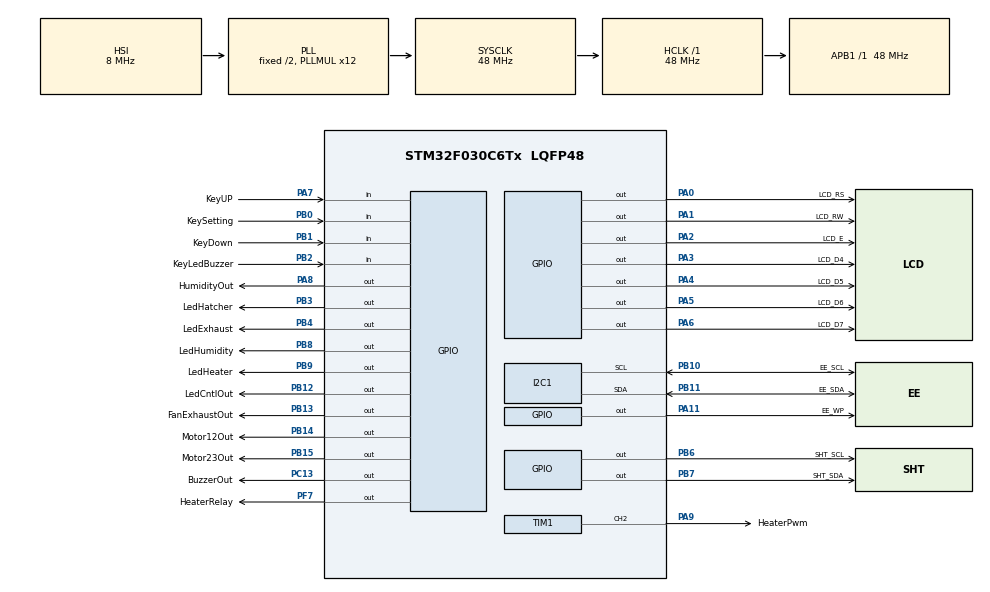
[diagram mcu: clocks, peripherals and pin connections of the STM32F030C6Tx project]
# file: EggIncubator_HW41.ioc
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I2C1.Speed=50
I2C1.Timing=0x00101D7C
IWDG.Prescaler=IWDG_PRESCALER_256
Mcu.Family=STM32F0
Mcu.Name=STM32F030C6Tx
Mcu.Package=LQFP48
NVIC.TIM16_IRQn=true\:0\:0\:false\:false\:true\:true\:true\:true
NVIC.TIM17_IRQn=true\:1\:0\:true\:false\:true\:true\:true\:true
PA0.GPIO_Label=LCD_RS
PA0.Signal=GPIO_Output
PA1.GPIO_Label=LCD_RW
PA1.Signal=GPIO_Output
PA11.GPIO_Label=EE_WP
PA11.Signal=GPIO_Output
PA13.Mode=Serial_Wire
PA13.Signal=SYS_SWDIO
PA14.Mode=Serial_Wire
PA14.Signal=SYS_SWCLK
PA2.GPIO_Label=LCD_E
PA2.Signal=GPIO_Output
PA3.GPIO_Label=LCD_D4
PA3.Signal=GPIO_Output
PA4.GPIO_Label=LCD_D5
PA4.Signal=GPIO_Output
PA5.GPIO_Label=LCD_D6
PA5.Signal=GPIO_Output
PA6.GPIO_Label=LCD_D7
PA6.Signal=GPIO_Output
PA7.GPIO_Label=KeyUP
PA7.GPIO_PuPd=GPIO_PULLUP
PA7.Signal=GPIO_Input
PA8.GPIO_Label=HumidityOut
PA8.Signal=GPIO_Output
PA9.GPIO_Label=HeaterPwm
PA9.Signal=S_TIM1_CH2
PB0.GPIO_Label=KeySetting
PB0.GPIO_PuPd=GPIO_PULLUP
PB0.Signal=GPIO_Input
PB1.GPIO_Label=KeyDown
PB1.GPIO_PuPd=GPIO_PULLUP
PB1.Signal=GPIO_Input
PB10.GPIO_Label=EE_SCL
PB10.Mode=I2C
PB10.Signal=I2C1_SCL
PB11.GPIO_Label=EE_SDA
PB11.Mode=I2C
PB11.Signal=I2C1_SDA
PB12.GPIO_Label=LedCntlOut
PB12.Signal=GPIO_Output
PB13.GPIO_Label=FanExhaustOut
PB13.Signal=GPIO_Output
PB14.GPIO_Label=Motor12Out
PB14.Signal=GPIO_Output
PB15.GPIO_Label=Motor23Out
PB15.Signal=GPIO_Output
PB2.GPIO_Label=KeyLedBuzzer
PB2.GPIO_PuPd=GPIO_PULLUP
PB2.Signal=GPIO_Input
PB3.GPIO_Label=LedHatcher
PB3.Signal=GPIO_Output
PB4.GPIO_Label=LedExhaust
PB4.Signal=GPIO_Output
PB6.GPIO_Label=SHT_SCL
PB6.Signal=GPIO_Output
PB7.GPIO_Label=SHT_SDA
PB7.Signal=GPIO_Output
PB8.GPIO_Label=LedHumidity
PB8.Signal=GPIO_Output
PB9.GPIO_Label=LedHeater
PB9.Signal=GPIO_Output
PC13.GPIO_Label=BuzzerOut
PC13.Signal=GPIO_Output
PF7.GPIO_Label=HeaterRelay
PF7.Signal=GPIO_Output
ProjectManager.HeapSize=0x200
ProjectManager.StackSize=0x400
ProjectManager.TargetToolchain=MDK-ARM V5.27
RCC.AHBFreq_Value=48000000
RCC.APB1Freq_Value=48000000
RCC.APB1TimFreq_Value=48000000
RCC.HCLKFreq_Value=48000000
RCC.PLLMUL=RCC_PLL_MUL12
RCC.SYSCLKFreq_VALUE=48000000
RCC.SYSCLKSource=RCC_SYSCLKSOURCE_PLLCLK
SH.S_TIM1_CH2.0=TIM1_CH2,PWM Generation2 CH2
TIM1.Channel-PWM\ Generation2\ CH2=TIM_CHANNEL_2
TIM1.Period=1000-1
TIM1.Prescaler=960-1
TIM1.Pulse-PWM\ Generation2\ CH2=500-1
TIM16.Period=1000-1
TIM16.Prescaler=480-1
TIM17.Period=2000-1
TIM17.Prescaler=24000-1
VP_IWDG_VS_IWDG.Mode=IWDG_Activate
VP_TIM16_VS_ClockSourceINT.Mode=Enable_Timer
VP_TIM17_VS_ClockSourceINT.Mode=Enable_Timer
VP_TIM1_VS_ClockSourceINT.Mode=Internal
board=custom

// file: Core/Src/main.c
/* USER CODE BEGIN Header */
/**
  ******************************************************************************
  * @file           : main.c
  * @brief          : Main program body
  ******************************************************************************
  * @attention
  *
  * <h2><center>&copy; Copyright (c) 2022 STMicroelectronics.
  * All rights reserved.</center></h2>
  *
  * This software component is licensed by ST under BSD 3-Clause license,
  * the "License"; You may not use this file except in compliance with the
  * License. You may obtain a copy of the License at:
  *                        opensource.org/licenses/BSD-3-Clause
  *
  ******************************************************************************
  */
/* USER CODE END Header */
#include "main.h"
#include "i2c.h"
#include "iwdg.h"
#include "tim.h"
#include "gpio.h"

/* USER CODE BEGIN Includes */
#include <stdlib.h>
#include <stdio.h>
#include <string.h>
#include "lcd_ch.h"
#include "string_num.h"
#include "sht2x_BB.h"
#include "Buzzer.h"
#include "Keys.h"
#include "user_eeprom.h"
#include "eeprom.h"
#include "user_time.h"
#include "bird.h"
#include "Motor.h"
#include "user_sht.h"
#include "heater_fan.h"
/* USER CODE END Includes */

/* USER CODE BEGIN PTD */
typedef struct {
    const char *date;
    const char *time;
    const char *version;
} FirmwareInfo;

const FirmwareInfo firmware = {
    .date = __DATE__,
    .time = __TIME__,
    .version = "4.1.2"
};
/* USER CODE END PTD */

/* USER CODE BEGIN PD */
#define DELAY_GOMAINMENU	20//s
//#define DELAY_SWITCHMAINDISPLAY		3//s
uint8_t DELAY_SWITCHMAINDISPLAY[]={3,9,6};  //Bird,TempHum,TimeDay,,
/* USER CODE END PD */

void SystemClock_Config(void);
/* USER CODE BEGIN PFP */
volatile  uint8_t tik_1s=0;
volatile uint8_t tik_3s=0;
volatile uint8_t cnt_tik3s=0;
volatile uint8_t TimerGoMainMenu=0;
void HAL_TIM_PeriodElapsedCallback(TIM_HandleTypeDef *htim)
{
	//call every 10ms
	if(htim->Instance==TIM16)
	{
		//Buzzer evaluate//
		if(Buzzer.active)
		{
			Buzzer.counterTime++;
			if(Buzzer.stateoffon) //buzzer ON
			{
				if(Buzzer.counterTime>Buzzer.rhythmProg[Buzzer.indexrhythm].onduration)
				{
					Buzzer.stateoffon=0;
					Buzzer.counterTime=0;
				}
				else
				{
					if(!Buzzer.mute)
						BUZZER_ON();
				}
			}
			else
			{
				if(Buzzer.counterTime>Buzzer.rhythmProg[Buzzer.indexrhythm].offduration)
				{
					Buzzer.indexrhythm++;
					if(Buzzer.indexrhythm>=Buzzer.numofrhythms)
					{
						Buzzer.indexrhythm=0;
						if(!Buzzer.repeatactive)
						{
							Buzzer.active=0;
						}
					}
					Buzzer.stateoffon=1;
					Buzzer.counterTime=0;
				}
				else
				{
					BUZZER_OFF();
				}
			}
		}
		//Read Keys//
		for(uint8_t i=0;i<KEYSNUM;i++)
		{
			Keys[i].RawState=(KeyState_t)HAL_GPIO_ReadPin(Keys[i].port,Keys[i].pin);
			if(Keys[i].Prev_RawState==Release && Keys[i].RawState==Press) //press
			{
				Keys[i].counter=0;
				Keys[i].LongPress=0;
				Keys[i].ShortPress=0;
				Keys[i].LongLongPress=0;
			}
			else if(Keys[i].Prev_RawState==Press && Keys[i].RawState==Press) //continue press
			{
				Keys[i].counter++;
				if(Keys[i].counter>LONGPRESS_MIN)
				{
					Keys[i].LongPress=1;
					Keys[i].counter=0;
				}
				else if(Keys[i].LongPress && Keys[i].counter>LONGLONGPRESS_MIN)
				{
					Keys[i].LongLongPress=1;
					Keys[i].counter=0;
				}
			}
			else if(Keys[i].Prev_RawState==Press && Keys[i].RawState==Release) //release
			{
				if(Keys[i].counter>SHORTPRESS_MIN && Keys[i].counter<SHORTPRESS_MAX)
				{
					if(!Keys[i].LongPress && !Keys[i].LongLongPress)
						Keys[i].ShortPress=1;
				}
				Keys[i].counter=0;
			}
			Keys[i].Prev_RawState=Keys[i].RawState;
		}
	}
	////////////////////////////////////////////////////////////////////
	//call every 1s
	if(htim->Instance==TIM17)
	{
		tik_1s=1;
		cnt_tik3s++;
		if(cnt_tik3s==3)
		{
			cnt_tik3s=0;
			tik_3s=1;
		}
		if(TimerGoMainMenu>0)
			TimerGoMainMenu--;
	}
}
////////////////////////////////////
uint8_t FindProgNum(Bird_t bird,Time_t time)
{
	uint8_t prognum=0;
	uint16_t sumdays=0;
	if(bird.Type==Manual)
	{
		if(bird.pProgs[0].durationDays)
			prognum=0;
		else
			prognum=1;
	}
	else
	{
		while(bird.TotalDurationDays>sumdays)
		{
			sumdays+=bird.pProgs[prognum].durationDays;
			if(sumdays>time.day) break;
			prognum++;
		}
		if(prognum>=bird.NumofProg)
			prognum=bird.NumofProg-1;
	}
	return prognum;
}
uint8_t IsHatcher(Bird_t bird,Time_t time)
{
	if(time.day>=(bird.TotalDurationDays-bird.HatchTotalDays) && bird.pProgs[bird.NumofProg-1].durationDays)
		return 1;
	else
		return	0;
}
char negstr[16];
char *negativStr(int16_t x)
{
	if(x>0)
		sprintf(negstr,"+%2d.%1d",x/10,x%10);
	else if(x==0)
		sprintf(negstr," %2d.%1d",x/10,x%10);
	else
		sprintf(negstr,"-%2d.%1d",(-x)/10,(-x)%10);
	return negstr;
}
/* USER CODE END PFP */

/* USER CODE BEGIN 0 */
//	Time_t st={.day=300,.hr=52,.min=32,.sec=0};
//	Time_t rt;
/* USER CODE END 0 */

int main(void)
{

  /* MCU Configuration--------------------------------------------------------*/

  /* Reset of all peripherals, Initializes the Flash interface and the Systick. */
  HAL_Init();

  /* Configure the system clock */
  SystemClock_Config();

  /* Initialize all configured peripherals */
  MX_GPIO_Init();
  MX_I2C1_Init();
  MX_TIM1_Init();
  MX_TIM16_Init();
  MX_TIM17_Init();
  MX_IWDG_Init();
  /* USER CODE BEGIN 2 */
	HAL_TIM_Base_Start_IT(&htim16); //timer 10ms
	HAL_TIM_Base_Start_IT(&htim17);	//timer 1s

  HAL_GPIO_WritePin(LedHeater_GPIO_Port, LedHeater_Pin, GPIO_PIN_SET);
  HAL_GPIO_WritePin(LedHumidity_GPIO_Port, LedHumidity_Pin, GPIO_PIN_SET);
  HAL_GPIO_WritePin(LedExhaust_GPIO_Port, LedExhaust_Pin, GPIO_PIN_SET);
  HAL_GPIO_WritePin(LedHatcher_GPIO_Port, LedHatcher_Pin, GPIO_PIN_SET);
	HAL_GPIO_WritePin(LedCntlOut_GPIO_Port,LedCntlOut_Pin,GPIO_PIN_SET);
	HAL_GPIO_WritePin(Motor12Out_GPIO_Port,Motor12Out_Pin,GPIO_PIN_SET);
	HAL_GPIO_WritePin(Motor23Out_GPIO_Port,Motor23Out_Pin,GPIO_PIN_SET);
	HAL_GPIO_WritePin(HeaterRelay_GPIO_Port,HeaterRelay_Pin,GPIO_PIN_SET);
BirdLoadDefault();
	LCD_init();
	BuzzerInit();
	KeysInit();
	BuzzerSetRhythm(Rhythm1,0);
//	HAL_Delay(10000);
//	BuzzerSetRhythm(SilentRhythm,1);
//	HAL_Delay(5000);
//	BuzzerSetRhythm(Rhythm3,1);
//	HAL_Delay(10000);
//	BuzzerSetRhythm(SilentRhythm,1);

	char lcd_str[2][16];
	uint8_t tmp_uint8;
	uint16_t tmp_uint16;
	Time_t curTime={.sec=0,.min=0,.hr=0,.day=0};
	LCD_putstralign("Ghoghnoos Plus+",0,0,AlignCenter);
	LCD_putstralign((char *)firmware.version,0,1,AlignCenter);
	uint8_t firsttime=0;
	EEReadByte(&firsttime,1,EE_ADD_FIRST_TIME);
	HAL_Delay(200);
	EEReadByte(&firsttime,1,EE_ADD_FIRST_TIME);
	if((Keys[KEYUP].RawState==Press && Keys[KEYUP].RawState==Press)|| (firsttime!=0xA1))
	{
		HAL_Delay(800);
		if((Keys[KEYUP].RawState==Press && Keys[KEYUP].RawState==Press)|| (firsttime!=0xA1))
		{
			LCD_putstralign("Save Default...",0,1,AlignCenter);
			firsttime=0xA1;
			EEWriteByte(&firsttime,1,EE_ADD_FIRST_TIME);
			TimeSave(curTime,EE_ADD_CURTIME);
			tmp_uint8=(uint8_t)DEFAULT_CURBIRDTYPE;
			EEWriteByte(&tmp_uint8,1,EE_ADD_CURBIRDTYPE);
			BirdSaveManual(defaultBirds[Manual]);
			TimeSave(defaultMotor.OnTime,EE_ADD_MOTOR_ON);
			TimeSave(defaultMotor.OffTime,EE_ADD_MOTOR_OFF);
			FanSave(defaultFan);
			HeaterSave(defaultHeater);
			ShtSave(defaultSht);
		}
	}
	KeysInit();
	//////////////////////Initialize after boot///////////////////////////////////////////
	LCD_clearrow(1);
	LCD_putstralign("Loading...",0,1,AlignCenter);
	TimeInit(&curTime);
	Bird_t curBird;
	BirdInit(&curBird);
	Motor_t motor;
	MotorInit(&motor);
	Sht_t sht20;
	ShtInit(&sht20);
	Fan_t fan;
	FanInit(&fan);
	Heater_t heater;
	HeaterInit(&heater);
	uint8_t curProg=FindProgNum(curBird,curTime);
	HAL_Delay(3000);
	LCD_clear_home();
	///////////////////////////////////////////////////////////////
	HAL_IWDG_Init(&hiwdg);
  /* USER CODE END 2 */

  /* Infinite loop */
  /* USER CODE BEGIN WHILE */
	enum{MainMenu=0,
			SettingBirdMenu,
			SettingBirdDayMenu,
			SettingManualTemperatureMenu,SettingManualhumidityMenu,SettingManualDaysMenu,SettingManualHatchersMenu,
			PasswordMenu,
			AdvancedMenu,
			AdvanceMotorOnTimeMenu,AdvanceMotorOffTimeMenu,
			AdvanceAdjustFanTempMenu,AdvanceAdjustFanHumMenu,
			AdvanceAdjustHeaterTempMenu,AdvanceAdjustHeaterPwmMenu,
			AdvanceCalibShtTempMenu,AdvanceCalibShtHumMenu,
			} curMenu=MainMenu;
	uint8_t counter_switchmaindispaly=0,tik_switchmaindispaly=1,MainPageNumber=0;
	uint8_t tmpType,tmpProg;
	Time_t tmpTime;
	int16_t tmpTemp,tmpHumid,tmpDay;
	int16_t tmpInt16;
	char tmpIsHatch;
	uint8_t indexpos;
	char tmppass[5];
	uint8_t sensor_error=0;
	BuzzerSetRhythm(SilentRhythm,1);

  while (1)
  {
		HAL_IWDG_Refresh(&hiwdg);
    /* USER CODE END WHILE */

    /* USER CODE BEGIN 3 */
		switch(curMenu)
		{
			//Main Menu//
			case MainMenu:
				if(tik_1s)
				{
					tik_1s=0;

					//increment time and save//
					IncTimesec(&curTime);
					if(curTime.sec==0)
							TimeSave(curTime,EE_ADD_CURTIME);
					//find current program for current bird  and turn the hatcher LED on, if necessary//
					curProg=FindProgNum(curBird,curTime);
					//Check Motor
					//Setter Hatcher LED
					IncTimesec(&motor.curTime);
					if(IsHatcher(curBird,curTime))
					{
						HAL_GPIO_WritePin(LedHatcher_GPIO_Port,LedHatcher_Pin,GPIO_PIN_RESET);
						if(motor.mode==MotorAuto)
							MotorSetState(&motor,MotorOff);
					}
					else
					{
						HAL_GPIO_WritePin(LedHatcher_GPIO_Port,LedHatcher_Pin,GPIO_PIN_SET);
						MotorCheck(&motor);
					}
					//Read sensor//

					if(tik_3s)
					{
						tik_3s=0;
						ShtReadSensor(&sht20);
					}
					if(!sht20.error)
					{
						FanCheckTempHum(fan,curBird.pProgs[curProg].temperature,sht20.temperature,curBird.pProgs[curProg].humidity,sht20.humidity);
						HeaterCheck(heater,curBird.pProgs[curProg].temperature,sht20.temperature);
						if(sht20.humidity<curBird.pProgs[curProg].humidity)
						{
							HAL_GPIO_WritePin(HumidityOut_GPIO_Port,HumidityOut_Pin,GPIO_PIN_RESET);
							HAL_GPIO_WritePin(LedHumidity_GPIO_Port,LedHumidity_Pin,GPIO_PIN_RESET);
						}
						else
						{
							HAL_GPIO_WritePin(HumidityOut_GPIO_Port,HumidityOut_Pin,GPIO_PIN_SET);
							HAL_GPIO_WritePin(LedHumidity_GPIO_Port,LedHumidity_Pin,GPIO_PIN_SET);
						}
						///check for alarms///
						if(sht20.temperature<(curBird.pProgs[curProg].temperature-DEFAULT_BUZZER_TEMP))
							BuzzerSetRhythm(Rhythm1,1);
						else if(sht20.temperature>(curBird.pProgs[curProg].temperature+DEFAULT_BUZZER_TEMP))
							BuzzerSetRhythm(Rhythm3,1);
						else if(sht20.humidity<(curBird.pProgs[curProg].humidity-DEFAULT_BUZZER_HUM))
							BuzzerSetRhythm(Rhythm1,1);
						else if(sht20.humidity>(curBird.pProgs[curProg].humidity+DEFAULT_BUZZER_HUM))
							BuzzerSetRhythm(Rhythm3,1);
						else
							BuzzerSetRhythm(SilentRhythm,1);
						//////////////////////////
						if(sensor_error)
						{
							sensor_error=0;
							tik_switchmaindispaly=1;
							MainPageNumber=0;
						}
					}
					else
					{
						HeaterSetPercent(0);
						FanSetState(&fan,FanOff);
						LCD_clear_home();
						LCD_putstralign("SENSOR ERROR",0,0,AlignCenter);
						sensor_error=1;
						MainPageNumber=3;
						BuzzerSetRhythm(Rhythm2,1);
					}
					//main menu tik//
					counter_switchmaindispaly++;
					if(counter_switchmaindispaly>DELAY_SWITCHMAINDISPLAY[MainPageNumber])
					{
						counter_switchmaindispaly=0;
						tik_switchmaindispaly=1;
					}
					//MainPageNumber=2;
					switch(MainPageNumber)
					{
						case 0:
							LCD_putstralign("Bird",0,0,AlignCenter);
							LCD_putpersian((uint8_t)curBird.Type,0,1,AlignCenter);
							if(tik_switchmaindispaly)
							{
								tik_switchmaindispaly=0;
								MainPageNumber=1;
								LCD_clear_home();

							}
							break;
						case 1:
							if(sht20.error)
								{
								}
								else
								{
									sprintf(lcd_str[0],"=%3d.%1d %cC",sht20.temperature/10,sht20.temperature%10,DEGREE_CH_CODE);
									sprintf(lcd_str[1],"=%3d.%1d %%",sht20.humidity/10,sht20.humidity%10);
									//sprintf(lcd_str[1],"=%3d.%1d %cC",curBird.pProgs[curProg].temperature/10,curBird.pProgs[curProg].temperature%10,DEGREE_CH_CODE);
									LCD_putpersian(DAMA_STR,3,0,AlignNone);
									LCD_putstralign(lcd_str[0],7,0,AlignNone);
									LCD_putpersian(ROTOBAT_STR,1,1,AlignNone);
									LCD_putstralign(lcd_str[1],7,1,AlignNone);
									if(tik_switchmaindispaly)
									{
										tik_switchmaindispaly=0;
										MainPageNumber=2;
										LCD_clear_home();

									}
								}
							break;
						case 2:
							LCD_putpersian(ZAMAN_STR,2,0,AlignNone);
							sprintf(lcd_str[0],"= %02d:%02d  ",curTime.hr,curTime.min);
						//sprintf(lcd_str[0],"=%02d:%02d:%02d",curTime.hr,curTime.min,curTime.sec);
							LCD_putstralign(lcd_str[0],7,0,AlignNone);

							LCD_putpersian(ROOZ_STR,2,1,AlignNone);
							sprintf(lcd_str[0],"= %3d",curTime.day);
							LCD_putstralign(lcd_str[0],7,1,AlignNone);
							if(tik_switchmaindispaly)
							{
								tik_switchmaindispaly=0;
								MainPageNumber=0;
								LCD_clear_home();

							}
							break;
						case 3:

							break;
					}
				}
				//Check Keys
				//Up key:Motor rotation
				if(Keys[KEYUP].RawState==Press)
				{
					if(motor.mode==MotorAuto)
					{
						motor.mode=MotorManual;
						MotorSetState(&motor,MotorOn);
						MainPageNumber=3;
						LCD_clear_home();
						LCD_putpersian(CHARKHSH_STR,0,0,AlignCenter);
					}
					if(sht20.error)
						sprintf(lcd_str[1],"T=----  H=----");
					else
					sprintf(lcd_str[1],"T=%2d.%1d  H=%2d.%1d",
																										sht20.temperature/10,sht20.temperature%10,
																										sht20.humidity/10,sht20.humidity%10
									);
					LCD_putstrpos(lcd_str[1],1,1);
				}
				else if(Keys[KEYUP].RawState==Release)
				{
					if(motor.mode==MotorManual)
					{
						motor.mode=MotorAuto;
						MotorSetState(&motor,MotorOff);
						motor.curTime.hr=0;motor.curTime.min=0;motor.curTime.sec=0;
						MainPageNumber=0;
						tik_switchmaindispaly=1;
						LCD_clear_home();
					}
				}
				//LEDBUZZER key:Lamp On Off
				if(Keys[KEYLEDBUZZER].ShortPress)
				{
					Keys[KEYLEDBUZZER].ShortPress=0;
					HAL_GPIO_TogglePin(LedCntlOut_GPIO_Port,LedCntlOut_Pin);
				}
				//LEDBUZZER key long:Buzzer On Off
				if(Keys[KEYLEDBUZZER].LongPress)
				{
					Keys[KEYLEDBUZZER].LongPress=0;
					LCD_clearrow(0);
					if(Buzzer.mute)
					{
						Buzzer.mute=0;
						LCD_putstralign("BUZZER ON",0,0,AlignCenter);
					}
					else
					{
						Buzzer.mute=1;
						LCD_putstralign("BUZZER OFF",0,0,AlignCenter);
					}
					HAL_Delay(1000);
					LCD_clear_home();
				}
				// both Key Setting and Down:Password menu
				if(Keys[KEYDOWN].LongPress && Keys[KEYUP].LongPress)
				{
					Keys[KEYUP].LongPress=Keys[KEYUP].LongLongPress=0;
					Keys[KEYDOWN].LongPress=Keys[KEYDOWN].LongLongPress=0;
					TimerGoMainMenu=DELAY_GOMAINMENU;

					HeaterSetPercent(0);
					FanSetState(&fan,FanOff);
					motor.mode=MotorManual;	MotorSetState(&motor,MotorOff);
					HAL_GPIO_WritePin(HumidityOut_GPIO_Port,HumidityOut_Pin,GPIO_PIN_SET);
					HAL_GPIO_WritePin(LedHumidity_GPIO_Port,LedHumidity_Pin,GPIO_PIN_SET);
					HAL_GPIO_WritePin(LedHatcher_GPIO_Port,LedHatcher_Pin,GPIO_PIN_SET);

					LCD_clear_home();
					LCD_putstralign("PASSWORD",0,0,AlignCenter);
					sprintf(tmppass,"0000");
					LCD_putstralign(tmppass,0,1,AlignCenter);
					indexpos=0;
					LCD_cursor_on();
					LCD_gotoxy(indexpos+6,1);
					Keys[KEYSETTING].LongPress=Keys[KEYSETTING].LongLongPress=0;
					Keys[KEYDOWN].LongPress=Keys[KEYDOWN].LongLongPress=0;
					curMenu=PasswordMenu;
				}
				//
				if(Keys[KEYSETTING].ShortPress )
				{
					Keys[KEYSETTING].ShortPress=0;
					TimerGoMainMenu=DELAY_GOMAINMENU;

					LCD_clear_home();
					LCD_putstrpos("Bird Select",1,0);
					LCD_putstrpos("=>",1,1);
					tmpType=(uint8_t)curBird.Type;
					LCD_putpersian((uint8_t)tmpType,0,1,AlignCenter);

					HeaterSetPercent(0);
					FanSetState(&fan,FanOff);
					motor.mode=MotorManual;	MotorSetState(&motor,MotorOff);
					HAL_GPIO_WritePin(HumidityOut_GPIO_Port,HumidityOut_Pin,GPIO_PIN_SET);
					HAL_GPIO_WritePin(LedHumidity_GPIO_Port,LedHumidity_Pin,GPIO_PIN_SET);
					HAL_GPIO_WritePin(LedHatcher_GPIO_Port,LedHatcher_Pin,GPIO_PIN_SET);

					curMenu=SettingBirdMenu;
				}
				break;
			//Password Menu//
			case PasswordMenu:
				if(Keys[KEYUP].ShortPress||Keys[KEYUP].LongLongPress)
				{
					Keys[KEYUP].ShortPress=0;Keys[KEYUP].LongLongPress=0;
					TimerGoMainMenu=DELAY_GOMAINMENU;
					tmppass[indexpos]++;
					if(tmppass[indexpos]>'9') tmppass[indexpos]='0';
					LCD_putstralign(tmppass,0,1,AlignCenter);
					LCD_gotoxy(indexpos+6,1);

				}
				if(Keys[KEYDOWN].ShortPress||Keys[KEYDOWN].LongLongPress)
				{
					Keys[KEYDOWN].ShortPress=0;Keys[KEYDOWN].LongLongPress=0;
					TimerGoMainMenu=DELAY_GOMAINMENU;
					if(tmppass[indexpos]=='0') tmppass[indexpos]='9'+1;
					tmppass[indexpos]--;
					LCD_putstralign(tmppass,0,1,AlignCenter);
					LCD_gotoxy(indexpos+6,1);
				}
				if(Keys[KEYSETTING].ShortPress)
				{
					Keys[KEYSETTING].ShortPress=0;
					TimerGoMainMenu=DELAY_GOMAINMENU;
					indexpos++;
//					LCD_putstralign(tmppass,0,1,AlignCenter);

					if(indexpos>3)
					{
						LCD_cursor_off();
						if(!strcmp(tmppass,DEFAULT_PASSWORD))
						{
							LCD_clear_home();
							LCD_putstralign("Motor On",0,0,AlignCenter);
							sprintf(lcd_str[1],"%02d:%02d:%02d",motor.OnTime.hr,motor.OnTime.min,motor.OnTime.sec);
							LCD_putstralign(lcd_str[1],0,1,AlignCenter);
							indexpos=0;
							curMenu=AdvancedMenu;
						}
						else
						{
							LCD_putstralign("Wrong",0,1,AlignCenter);
							HAL_Delay(2000);
							TimerGoMainMenu=0;
						}
					}
					else
					{
							LCD_gotoxy(indexpos+6,1);
					}
				}
				if(TimerGoMainMenu==0)
				{
					LCD_clear_home();
					tik_1s=1;
					tik_switchmaindispaly=1;
					MainPageNumber=0;
					motor.mode=MotorAuto;
					curMenu=MainMenu;
				}
				break;
				//Advance Menu:selectItem
			case AdvancedMenu:
				if(Keys[KEYUP].ShortPress || Keys[KEYDOWN].ShortPress)
				{
					TimerGoMainMenu=DELAY_GOMAINMENU;
					if(Keys[KEYUP].ShortPress)
					{
						Keys[KEYUP].ShortPress=0;
						indexpos++;
						if(indexpos>8)
							indexpos=0;
					}
					else
					{
						Keys[KEYDOWN].ShortPress=0;
						if(indexpos==0)
							indexpos=9;
						indexpos--;
					}
					LCD_clear_home();
					switch(indexpos)
					{
						case 0:
							LCD_putstralign("Motor On",0,0,AlignCenter);
							sprintf(lcd_str[1],"%02d:%02d:%02d",motor.OnTime.hr,motor.OnTime.min,motor.OnTime.sec);
						break;
						case 1:
							LCD_putstralign("Motor Off",0,0,AlignCenter);
							sprintf(lcd_str[1],"%02d:%02d:%02d",motor.OffTime.hr,motor.OffTime.min,motor.OffTime.sec);
						break;
						case 2:
							LCD_putstralign("Adj Fan Temp",0,0,AlignCenter);
							sprintf(lcd_str[1],"%s %cC",negativStr(fan.adjustFanTemp),DEGREE_CH_CODE);//							sprintf(lcd_str[1],"%+3d.%1d %cC",fan.adjustFanTemp/10,abs(fan.adjustFanTemp%10),DEGREE_CH_CODE);
						break;
						case 3:
							LCD_putstralign("Adj Fan HUM",0,0,AlignCenter);
							sprintf(lcd_str[1],"%s %%",negativStr(fan.adjustFanHum));//sprintf(lcd_str[1],"%+3d.%1d %%",fan.adjustFanHum/10,abs(fan.adjustFanHum%10));
						break;
						case 4:
							LCD_putstralign("Adj Heat Temp",0,0,AlignCenter);
							sprintf(lcd_str[1],"%s %cC",negativStr( heater.adjustHeaterTemp),DEGREE_CH_CODE);//sprintf(lcd_str[1],"%+3d.%1d %cC",heater.adjustHeaterTemp/10,abs(heater.adjustHeaterTemp%10),DEGREE_CH_CODE);
						break;
						case 5:
							LCD_putstralign("Adj Heat PWM",0,0,AlignCenter);
							sprintf(lcd_str[1],"%3d.0 %%",heater.adjustHeaterPwmp/10);
						break;
						case 6:
							LCD_putstralign("Calib SHT Temp",0,0,AlignCenter);
							sprintf(lcd_str[1],"%s %cC",negativStr(sht20.calibTemp),DEGREE_CH_CODE);//sprintf(lcd_str[1],"%+3d.%1d %cC",sht20.calibTemp/10,abs(sht20.calibTemp),DEGREE_CH_CODE);
						break;
						case 7:
							LCD_putstralign("Calib SHT HUM",0,0,AlignCenter);
							sprintf(lcd_str[1],"%s %%",negativStr(sht20.calibHum));//sprintf(lcd_str[1],"%+3d.%1d %%",sht20.calibHum/10,abs(sht20.calibHum%10));
						break;
						case 8:
							LCD_putstralign("EXIT",0,0,AlignCenter);
							LCD_clearrow(1);
							sprintf(lcd_str[1]," ");//sprintf(lcd_str[1],"%+3d.%1d %%",sht20.calibHum/10,abs(sht20.calibHum%10));

						break;
					}
					LCD_putstralign(lcd_str[1],0,1,AlignCenter);
				}
				if(Keys[KEYSETTING].ShortPress)
				{
					Keys[KEYSETTING].ShortPress=0;
					switch(indexpos)
					{
						case 0://Motor OnTime
							tmpTime=motor.OnTime;
							indexpos=0;
							LCD_cursor_on();
							LCD_gotoxy(5+indexpos*3,1);
							curMenu=AdvanceMotorOnTimeMenu;
						break;
						case 1://Motor Off Time
							tmpTime=motor.OffTime;
							indexpos=0;
							LCD_cursor_on();
							LCD_gotoxy(5+indexpos*3,1);
							curMenu=AdvanceMotorOffTimeMenu;
							break;
						case 2://Adjust Fan Temp
							tmpInt16=fan.adjustFanTemp;
							LCD_cursor_on();
							LCD_gotoxy(8,1);
							curMenu=AdvanceAdjustFanTempMenu;
							break;
						case 3://Adjust Fan Hum
							tmpInt16=fan.adjustFanHum;
							LCD_cursor_on();
							LCD_gotoxy(8,1);
							curMenu=AdvanceAdjustFanHumMenu;
							break;
						case 4://Adjust Heater Temp
							tmpInt16=heater.adjustHeaterTemp;
							LCD_cursor_on();
							LCD_gotoxy(8,1);
							curMenu=AdvanceAdjustHeaterTempMenu;
						break;
						case 5://Adjust Heater PWM
							tmpInt16=heater.adjustHeaterPwmp;
							LCD_cursor_on();
							LCD_gotoxy(8,1);
							curMenu=AdvanceAdjustHeaterPwmMenu;
						break;
						case 6://Calib sht Temp
							tmpInt16=sht20.calibTemp;
							LCD_cursor_on();
							LCD_gotoxy(8,1);
							curMenu=AdvanceCalibShtTempMenu;
						break;
						case 7://Calib sht hum
							tmpInt16=sht20.calibHum;
							LCD_cursor_on();
							LCD_gotoxy(8,1);
							curMenu=AdvanceCalibShtHumMenu;
						break;
						case 8://exit
							TimerGoMainMenu=0;
						break;
					}
				}
				if(TimerGoMainMenu==0)
				{
					LCD_clear_home();
					tik_1s=1;
					tik_switchmaindispaly=1;
					MainPageNumber=0;
					motor.mode=MotorAuto;
					curMenu=MainMenu;
				}
				break;
				//Advance Menu:Adjust Temp && Humid for Fan on/off
				case AdvanceAdjustFanTempMenu:
				case AdvanceAdjustFanHumMenu:
				case AdvanceAdjustHeaterTempMenu:
				case AdvanceAdjustHeaterPwmMenu:
				case AdvanceCalibShtTempMenu:
				case AdvanceCalibShtHumMenu:
				if(Keys[KEYUP].ShortPress||Keys[KEYUP].LongLongPress)
				{
					if(Keys[KEYUP].ShortPress)
					{
						Keys[KEYUP].ShortPress=0;
						if(curMenu==AdvanceAdjustHeaterPwmMenu)
							tmpInt16+=10;
						else
							tmpInt16++;
					}
					else
					{
						Keys[KEYUP].LongLongPress=0;
						tmpInt16+=10;
					}
					TimerGoMainMenu=DELAY_GOMAINMENU;

					switch(curMenu)
					{
						case AdvanceAdjustFanTempMenu:
						case AdvanceAdjustHeaterTempMenu:
						case AdvanceCalibShtTempMenu:
							if(tmpInt16>TEMP_ADJUST_UPPER_LIMIT) tmpInt16=TEMP_ADJUST_UPPER_LIMIT;
							sprintf(lcd_str[1],"%s %cC",negativStr(tmpInt16),DEGREE_CH_CODE);
						break;
						case AdvanceCalibShtHumMenu:
						case AdvanceAdjustFanHumMenu:
							if(tmpInt16>HUM_ADJUST_UPPER_LIMIT) tmpInt16=HUM_ADJUST_UPPER_LIMIT;
							sprintf(lcd_str[1],"%s %%",negativStr(tmpInt16));
						break;
						case AdvanceAdjustHeaterPwmMenu:
							if(tmpInt16>1000) tmpInt16=1000;
							sprintf(lcd_str[1],"%3d.0 %%",tmpInt16/10);
						break;
					}
					LCD_putstralign(lcd_str[1],0,1,AlignCenter);
					LCD_gotoxy(8,1);
				}

				if(Keys[KEYDOWN].ShortPress||Keys[KEYDOWN].LongLongPress)
				{
					if(Keys[KEYDOWN].ShortPress)
					{
						Keys[KEYDOWN].ShortPress=0;
						if(curMenu==AdvanceAdjustHeaterPwmMenu)
							tmpInt16-=10;
						else
							tmpInt16--;
					}
					else
					{
						Keys[KEYDOWN].LongLongPress=0;
						tmpInt16-=10;
					}
					TimerGoMainMenu=DELAY_GOMAINMENU;
					switch(curMenu)
					{
						case AdvanceAdjustFanTempMenu:
						case AdvanceAdjustHeaterTempMenu:
						case AdvanceCalibShtTempMenu:
							if(tmpInt16<TEMP_ADJUST_LOWER_LIMIT) tmpInt16=TEMP_ADJUST_LOWER_LIMIT;
							sprintf(lcd_str[1],"%s %cC",negativStr(tmpInt16),DEGREE_CH_CODE);
						break;
						case AdvanceCalibShtHumMenu:
						case AdvanceAdjustFanHumMenu:
							if(tmpInt16<HUM_ADJUST_LOWER_LIMIT) tmpInt16=HUM_ADJUST_LOWER_LIMIT;
							sprintf(lcd_str[1],"%s %%",negativStr(tmpInt16));
						break;
						case AdvanceAdjustHeaterPwmMenu:
							if(tmpInt16<0) tmpInt16=0;
							sprintf(lcd_str[1],"%3d.0 %%",tmpInt16/10);
						break;
					}
					LCD_putstralign(lcd_str[1],0,1,AlignCenter);
					LCD_gotoxy(8,1);
				}
				if(Keys[KEYSETTING].ShortPress)
				{
					Keys[KEYSETTING].ShortPress=0;
					TimerGoMainMenu=0;
					LCD_cursor_off();
					switch(curMenu)
					{
						case AdvanceAdjustFanTempMenu:
								fan.adjustFanTemp=tmpInt16;
								FanSave(fan);
							break;
						case AdvanceAdjustFanHumMenu:
								fan.adjustFanHum=tmpInt16;
								FanSave(fan);
							break;
						case AdvanceAdjustHeaterTempMenu:
								heater.adjustHeaterTemp=tmpInt16;
								HeaterSave(heater);
						break;
						case AdvanceAdjustHeaterPwmMenu:
								heater.adjustHeaterPwmp =tmpInt16;
								HeaterSave(heater);
							break;
						case AdvanceCalibShtTempMenu:
							sht20.calibTemp=tmpInt16;
							ShtSave(sht20);
							break;
						case AdvanceCalibShtHumMenu:
							sht20.calibHum=tmpInt16;
							ShtSave(sht20);
						break;
					}
				}

				if(TimerGoMainMenu==0)
				{
						LCD_cursor_off();

					switch(curMenu)
					{
						case AdvanceAdjustFanTempMenu:
							sprintf(lcd_str[1],"%s %cC",negativStr(fan.adjustFanTemp),DEGREE_CH_CODE);//							sprintf(lcd_str[1],"%+3d.%1d %cC",fan.adjustFanTemp/10,abs(fan.adjustFanTemp%10),DEGREE_CH_CODE);
						indexpos=2;
						break;
						case AdvanceAdjustFanHumMenu:
							sprintf(lcd_str[1],"%s %%",negativStr(fan.adjustFanHum));//sprintf(lcd_str[1],"%+3d.%1d %%",fan.adjustFanHum/10,abs(fan.adjustFanHum%10));

						indexpos=3;
						break;
						case AdvanceAdjustHeaterTempMenu:
							sprintf(lcd_str[1],"%s %cC",negativStr( heater.adjustHeaterTemp),DEGREE_CH_CODE);//sprintf(lcd_str[1],"%+3d.%1d %cC",heater.adjustHeaterTemp/10,abs(heater.adjustHeaterTemp%10),DEGREE_CH_CODE);

						indexpos=4;
						break;
						case AdvanceAdjustHeaterPwmMenu:
							sprintf(lcd_str[1],"%3d.0 %%",heater.adjustHeaterPwmp/10);
						indexpos=5;
						break;
						case AdvanceCalibShtTempMenu:
							sprintf(lcd_str[1],"%s %cC",negativStr(sht20.calibTemp),DEGREE_CH_CODE);//sprintf(lcd_str[1],"%+3d.%1d %cC",sht20.calibTemp/10,abs(sht20.calibTemp),DEGREE_CH_CODE);
						indexpos=6;
						break;
						case AdvanceCalibShtHumMenu:
							sprintf(lcd_str[1],"%s %%",negativStr(sht20.calibHum));//sprintf(lcd_str[1],"%+3d.%1d %%",sht20.calibHum/10,abs(sht20.calibHum%10));
						indexpos=7;
						break;
					}
					LCD_putstralign(lcd_str[1],0,1,AlignCenter);

					TimerGoMainMenu=DELAY_GOMAINMENU;
					curMenu=AdvancedMenu;
				}
					break;
				//Advance Menu:Set Motor On Off Time
			case AdvanceMotorOnTimeMenu:
			case AdvanceMotorOffTimeMenu:
				if(Keys[KEYUP].ShortPress||Keys[KEYUP].LongLongPress)
				{
					Keys[KEYUP].ShortPress=0;Keys[KEYUP].LongLongPress=0;
					TimerGoMainMenu=DELAY_GOMAINMENU;
					switch(indexpos)
					{
						case 0:
							tmpTime.hr++;
							if(tmpTime.hr>99) tmpTime.hr=99;
							break;
						case 1:
							tmpTime.min++;
							if(tmpTime.min>59) tmpTime.min=59;
						break;
						case 2:
							tmpTime.sec++;
							if(tmpTime.sec>59) tmpTime.sec=59;
						break;
					}
					sprintf(lcd_str[1],"%02d:%02d:%02d",tmpTime.hr,tmpTime.min,tmpTime.sec);
					LCD_putstralign(lcd_str[1],0,1,AlignCenter);
					LCD_gotoxy(5+indexpos*3,1);

				}
				if(Keys[KEYDOWN].ShortPress||Keys[KEYDOWN].LongLongPress)
				{
					Keys[KEYDOWN].ShortPress=0;Keys[KEYDOWN].LongLongPress=0;
					TimerGoMainMenu=DELAY_GOMAINMENU;
					switch(indexpos)
					{
						case 0:
							if(tmpTime.hr==0) tmpTime.hr=1;
							tmpTime.hr--;
							break;
						case 1:
							if(tmpTime.min==0) tmpTime.min=1;
							tmpTime.min--;
						break;
						case 2:
							if(tmpTime.sec==0) tmpTime.sec=1;
							tmpTime.sec--;
						break;
					}
					sprintf(lcd_str[1],"%02d:%02d:%02d",tmpTime.hr,tmpTime.min,tmpTime.sec);
					LCD_putstralign(lcd_str[1],0,1,AlignCenter);
					LCD_gotoxy(5+indexpos*3,1);
				}
				if(Keys[KEYSETTING].ShortPress)
				{
					Keys[KEYSETTING].ShortPress=0;
					TimerGoMainMenu=DELAY_GOMAINMENU;
					indexpos++;
					if(indexpos>2)
					{
						TimerGoMainMenu=0;
						if(curMenu==AdvanceMotorOnTimeMenu)
						{
							memcpy(&motor.OnTime,&tmpTime,sizeof(Time_t));
							TimeSave(motor.OnTime,EE_ADD_MOTOR_ON);
						}
						else
						{
							memcpy(&motor.OffTime,&tmpTime,sizeof(Time_t));
							TimeSave(motor.OffTime,EE_ADD_MOTOR_OFF);
						}
						LCD_cursor_off();
					}
					else
					{
						LCD_gotoxy(5+indexpos*3,1);
					}
				}

				if(TimerGoMainMenu==0)
				{
						LCD_cursor_off();
					if(curMenu==AdvanceMotorOnTimeMenu)
					{
						sprintf(lcd_str[1],"%02d:%02d:%02d",motor.OnTime.hr,motor.OnTime.min,motor.OnTime.sec);
						indexpos=0;
					}
					else
					{
						sprintf(lcd_str[1],"%02d:%02d:%02d",motor.OffTime.hr,motor.OffTime.min,motor.OffTime.sec);
						indexpos=1;
					}
					LCD_putstralign(lcd_str[1],0,1,AlignCenter);

					TimerGoMainMenu=DELAY_GOMAINMENU;
					curMenu=AdvancedMenu;
				}
				break;
			//Setting Bird Menu//
			case SettingBirdMenu:
				if(Keys[KEYUP].ShortPress || Keys[KEYUP].LongLongPress)
				{
					Keys[KEYUP].ShortPress=0; Keys[KEYUP].LongLongPress=0;
					TimerGoMainMenu=DELAY_GOMAINMENU;
					tmpType++;
					if(tmpType>=NumOfBirds)
						tmpType=0;
//					LCD_putstrpos("        ",4,1);
					LCD_clear_size(4,1,8);
					LCD_putpersian((uint8_t)tmpType,0,1,AlignCenter);
				}
				if(Keys[KEYDOWN].ShortPress  || Keys[KEYDOWN].LongLongPress)
				{
					Keys[KEYDOWN].ShortPress=0; Keys[KEYDOWN].LongLongPress=0;
					TimerGoMainMenu=DELAY_GOMAINMENU;
					if(tmpType==0)
						tmpType=NumOfBirds;
					tmpType--;
					LCD_clear_size(4,1,8);
					LCD_putpersian((uint8_t)tmpType,0,1,AlignCenter);
				}
				if(Keys[KEYSETTING].ShortPress)
				{
					Keys[KEYSETTING].ShortPress=0;
					TimerGoMainMenu=DELAY_GOMAINMENU;
					LCD_clear_home();
					if(tmpType==(uint8_t)Manual)
					{
						TimerGoMainMenu=DELAY_GOMAINMENU;
						if(defaultBirds[Manual].pProgs[0].durationDays)
						{
							tmpProg=0;
						}
						else
						{
							tmpProg=1;
						}
						tmpTemp=defaultBirds[Manual].pProgs[tmpProg].temperature;
						LCD_putpersian(DAMA_STR,0,0,AlignCenter);
						LCD_putstrpos("=>",1,1);
						sprintf(lcd_str[1],"%2d.%1d %cC",tmpTemp/10,tmpTemp%10,DEGREE_CH_CODE);
						LCD_putstralign(lcd_str[1],0,1,AlignCenter);

						curMenu=SettingManualTemperatureMenu;
					}
					else
					{
						LCD_putstrpos("Day Select",1,0);
						LCD_putpersian(ROOZ_STR,1,1,AlignNone);
						tmpTime.day=0;tmpTime.hr=0;tmpTime.min=0;tmpTime.sec=0;
						if(IsHatcher(defaultBirds[tmpType],tmpTime))
							sprintf(lcd_str[1],"=%03d Hatcher",tmpTime.day);
						else
							sprintf(lcd_str[1],"=%03d Setter ",tmpTime.day);
						LCD_putstralign(lcd_str[1],0,1,AlignRight);
						curMenu=SettingBirdDayMenu;
					}
				}
				if(TimerGoMainMenu==0)
				{
					LCD_clear_home();
					tik_1s=1;
					tik_switchmaindispaly=1;
					MainPageNumber=0;
					motor.mode=MotorAuto;
					curMenu=MainMenu;
				}
				break;
				//Setting Manual:Temperature
			case SettingManualTemperatureMenu:
				if(Keys[KEYUP].ShortPress)
				{
						Keys[KEYUP].ShortPress=0;
						TimerGoMainMenu=DELAY_GOMAINMENU;
						tmpTemp++;
						if(tmpTemp>TEMP_UPPER_VALUE)
							tmpTemp=TEMP_UPPER_VALUE;
						sprintf(lcd_str[1],"%2d.%1d %cC",tmpTemp/10,tmpTemp%10,DEGREE_CH_CODE);
						LCD_putstralign(lcd_str[1],0,1,AlignCenter);
				}
				if(Keys[KEYUP].LongLongPress)
				{
						Keys[KEYUP].LongLongPress=0;
						TimerGoMainMenu=DELAY_GOMAINMENU;
						tmpTemp+=10;
						if(tmpTemp>TEMP_UPPER_VALUE)
							tmpTemp=TEMP_UPPER_VALUE;
						sprintf(lcd_str[1],"%2d.%1d %cC",tmpTemp/10,tmpTemp%10,DEGREE_CH_CODE);
						LCD_putstralign(lcd_str[1],0,1,AlignCenter);
				}
				if(Keys[KEYDOWN].ShortPress)
				{
						Keys[KEYDOWN].ShortPress=0;
						TimerGoMainMenu=DELAY_GOMAINMENU;

						if(tmpTemp<=TEMP_LOWER_VALUE)
								tmpTemp=TEMP_LOWER_VALUE+1;
						tmpTemp--;
						sprintf(lcd_str[1],"%2d.%1d %cC",tmpTemp/10,tmpTemp%10,DEGREE_CH_CODE);
						LCD_putstralign(lcd_str[1],0,1,AlignCenter);
				}
				if(Keys[KEYDOWN].LongLongPress)
				{
						Keys[KEYDOWN].LongLongPress=0;
						TimerGoMainMenu=DELAY_GOMAINMENU;

						if((tmpTemp-10)<TEMP_LOWER_VALUE)
								tmpTemp=TEMP_LOWER_VALUE+10;
						tmpTemp-=10;
						sprintf(lcd_str[1],"%2d.%1d %cC",tmpTemp/10,tmpTemp%10,DEGREE_CH_CODE);
						LCD_putstralign(lcd_str[1],0,1,AlignCenter);
				}
				if(Keys[KEYSETTING].ShortPress)
				{
					Keys[KEYSETTING].ShortPress=0;
					TimerGoMainMenu=DELAY_GOMAINMENU;
					tmpHumid=defaultBirds[Manual].pProgs[tmpProg].humidity;
					LCD_clear_home();
					LCD_putpersian(ROTOBAT_STR,0,0,AlignCenter);
					LCD_putstrpos("=>",1,1);
					sprintf(lcd_str[1],"%2d.%1d %%",tmpHumid/10,tmpHumid%10);
					LCD_putstralign(lcd_str[1],0,1,AlignCenter);
					curMenu=SettingManualhumidityMenu;
				}
				if(TimerGoMainMenu==0)
				{
					LCD_clear_home();
					tik_1s=1;
					tik_switchmaindispaly=1;
					MainPageNumber=0;
					motor.mode=MotorAuto;
					curMenu=MainMenu;
				}
			break;
				//Setting Manual:Humidity
			case SettingManualhumidityMenu:
				if(Keys[KEYUP].ShortPress)
				{
						Keys[KEYUP].ShortPress=0;
						TimerGoMainMenu=DELAY_GOMAINMENU;
						tmpHumid++;
						if(tmpHumid>HUM_UPPER_VALUE)
							tmpHumid=HUM_UPPER_VALUE;
						sprintf(lcd_str[1],"%2d.%1d %%",tmpHumid/10,tmpHumid%10);
						LCD_putstralign(lcd_str[1],0,1,AlignCenter);
				}
				if(Keys[KEYUP].LongLongPress)
				{
						Keys[KEYUP].LongLongPress=0;
						TimerGoMainMenu=DELAY_GOMAINMENU;
						tmpHumid+=10;
						if(tmpHumid>HUM_UPPER_VALUE)
							tmpHumid=HUM_UPPER_VALUE;
						sprintf(lcd_str[1],"%2d.%1d %%",tmpHumid/10,tmpHumid%10);
						LCD_putstralign(lcd_str[1],0,1,AlignCenter);
				}
				if(Keys[KEYDOWN].ShortPress)
				{
						Keys[KEYDOWN].ShortPress=0;
						TimerGoMainMenu=DELAY_GOMAINMENU;

						if(tmpHumid<=HUM_LOWER_VALUE)
								tmpHumid=HUM_LOWER_VALUE+1;
						tmpHumid--;
						sprintf(lcd_str[1],"%2d.%1d %%",tmpHumid/10,tmpHumid%10);
						LCD_putstralign(lcd_str[1],0,1,AlignCenter);
				}
				if(Keys[KEYDOWN].LongLongPress)
				{
						Keys[KEYDOWN].LongLongPress=0;
						TimerGoMainMenu=DELAY_GOMAINMENU;

						if((tmpHumid-10)<HUM_LOWER_VALUE)
								tmpHumid=HUM_LOWER_VALUE+10;
						tmpHumid-=10;
						sprintf(lcd_str[1],"%2d.%1d %%",tmpHumid/10,tmpHumid%10);
						LCD_putstralign(lcd_str[1],0,1,AlignCenter);
				}
				if(Keys[KEYSETTING].ShortPress)
				{
//					Keys[KEYSETTING].ShortPress=0;
//					TimerGoMainMenu=DELAY_GOMAINMENU;
//					tmpDay=defaultBirds[Manual].pProgs[tmpProg].durationDays;
//					LCD_clear_home();
//					LCD_putpersian(ROOZ_STR,0,0,AlignCenter);
//					LCD_putstrpos("=>",1,1);
//					sprintf(lcd_str[1],"%3d",tmpDay);
//					LCD_putstralign(lcd_str[1],0,1,AlignCenter);
//					curMenu=SettingManualDaysMenu;

					Keys[KEYSETTING].ShortPress=0;
					TimerGoMainMenu=DELAY_GOMAINMENU;
					tmpIsHatch=(tmpProg==0)?'S':'H';
					LCD_clear_home();
					LCD_putpersian(DOOREH_STR,0,0,AlignCenter);
					LCD_putstrpos("=>",1,1);
					LCD_putpersian((tmpIsHatch=='S')?SETTER_STR:HATCHER_STR,0,1,AlignCenter);
					curMenu=SettingManualHatchersMenu;
				}
				if(TimerGoMainMenu==0)
				{
					LCD_clear_home();
					tik_1s=1;
					tik_switchmaindispaly=1;
					MainPageNumber=0;
					motor.mode=MotorAuto;
					curMenu=MainMenu;
				}
			break;
				//Setting Manual:Hatcher/Setter
			case SettingManualHatchersMenu:
				if(Keys[KEYUP].ShortPress || Keys[KEYUP].LongLongPress)
				{
						Keys[KEYUP].ShortPress=0;
						Keys[KEYUP].LongLongPress=0;
						TimerGoMainMenu=DELAY_GOMAINMENU;
						tmpIsHatch=(tmpIsHatch=='H')?'S':'H';
						LCD_putpersian((tmpIsHatch=='S')?SETTER_STR:HATCHER_STR,0,1,AlignCenter);
				}
				if(Keys[KEYDOWN].ShortPress ||Keys[KEYDOWN].LongLongPress)
				{
						Keys[KEYDOWN].ShortPress=0;
						Keys[KEYDOWN].LongLongPress=0;
						TimerGoMainMenu=DELAY_GOMAINMENU;
						tmpIsHatch=(tmpIsHatch=='H')?'S':'H';
						LCD_putpersian((tmpIsHatch=='S')?SETTER_STR:HATCHER_STR,0,1,AlignCenter);
				}
				if(Keys[KEYSETTING].ShortPress)
				{
					Keys[KEYSETTING].ShortPress=0;
					TimerGoMainMenu=0;
					LCD_clear_home();
					LCD_putstralign("Saving...",0,0,AlignCenter);
					curTime.day=0;curTime.hr=0;curTime.min=0;curTime.sec=0;
					TimeSave(curTime,EE_ADD_CURTIME);
					TimeInit(&curTime);
					curBird.Type=Manual;
					curBird.TotalDurationDays=DAY_UPPER_VALUE;
					if(tmpIsHatch=='S')
					{
						curBird.HatchTotalDays=0;
						curBird.pProgs[0].durationDays=DAY_UPPER_VALUE;
						curBird.pProgs[0].temperature=tmpTemp;
						curBird.pProgs[0].humidity=tmpHumid;
						curBird.pProgs[1].durationDays=0;
					}
					else
					{
						curBird.HatchTotalDays=DAY_UPPER_VALUE;
						curBird.pProgs[1].durationDays=DAY_UPPER_VALUE;
						curBird.pProgs[1].temperature=tmpTemp;
						curBird.pProgs[1].humidity=tmpHumid;
						curBird.pProgs[0].durationDays=0;
					}

					EEWriteByte((uint8_t *)&curBird.Type,1,EE_ADD_CURBIRDTYPE);
					BirdSaveManual(curBird);
					BirdInit(&curBird);
					///checking type
//					sprintf(lcd_str[0],"%d,%d ",curBird.Type,tmpType);
//					LCD_putstrpos(lcd_str[0],0,0);
//					HAL_Delay(3500);
					///
				}
				if(TimerGoMainMenu==0)
				{
					LCD_clear_home();
					tik_1s=1;
					tik_switchmaindispaly=1;
					MainPageNumber=0;
					motor.mode=MotorAuto;
					curMenu=MainMenu;
				}
			break;
				//SettingDay Menu
			case SettingBirdDayMenu:
				if(Keys[KEYUP].ShortPress || Keys[KEYUP].LongLongPress)
				{
					Keys[KEYUP].ShortPress=0;
					Keys[KEYUP].LongLongPress=0;
					TimerGoMainMenu=DELAY_GOMAINMENU;
					tmpTime.day++;
					if(tmpTime.day>=defaultBirds[tmpType].TotalDurationDays)
						tmpTime.day=0;
					if(IsHatcher(defaultBirds[tmpType],tmpTime))
						sprintf(lcd_str[1],"=%03d Hatcher",tmpTime.day);
					else
						sprintf(lcd_str[1],"=%03d Setter ",tmpTime.day);
					LCD_putstralign(lcd_str[1],0,1,AlignRight);
				}
				if(Keys[KEYDOWN].ShortPress || Keys[KEYDOWN].LongLongPress)
				{
					Keys[KEYDOWN].ShortPress=0;
					Keys[KEYDOWN].LongLongPress=0;
					TimerGoMainMenu=DELAY_GOMAINMENU;
					if(tmpTime.day==0)
						tmpTime.day=defaultBirds[tmpType].TotalDurationDays;
					tmpTime.day--;
					if(IsHatcher(defaultBirds[tmpType],tmpTime))
						sprintf(lcd_str[1],"=%03d Hatcher",tmpTime.day);
					else
						sprintf(lcd_str[1],"=%03d Setter ",tmpTime.day);
					LCD_putstralign(lcd_str[1],0,1,AlignRight);
				}
				if(Keys[KEYSETTING].ShortPress)
				{
					Keys[KEYSETTING].ShortPress=0;
					TimerGoMainMenu=0;
					LCD_clear_home();
					LCD_putstralign("Saving...",0,0,AlignCenter);
					curTime.day=tmpTime.day;curTime.hr=0;curTime.min=0;curTime.sec=0;
					TimeSave(curTime,EE_ADD_CURTIME);
					TimeInit(&curTime);
					curBird.Type=(BirdType_t)tmpType;
					MotorInit(&motor);
					EEWriteByte((uint8_t *)&curBird.Type,1,EE_ADD_CURBIRDTYPE);HAL_Delay(50);
					BirdInit(&curBird);
					////checking type
//					sprintf(lcd_str[0],"%d,%d ",curBird.Type,tmpType);
//					LCD_putstrpos(lcd_str[0],0,0);
//					sprintf(lcd_str[1],"%d ",curBird.pProgs[0].temperature);
//					LCD_putstrpos(lcd_str[1],0,1);
//
//					HAL_Delay(3500);
					////

				}
				if(TimerGoMainMenu==0)
				{
					LCD_clear_home();
					tik_1s=1;
					tik_switchmaindispaly=1;
					motor.mode=MotorAuto;
					curMenu=MainMenu;
					MainPageNumber=0;
				}
				break;

		}
  }
  /* USER CODE END 3 */
}

void SystemClock_Config(void)
{
  RCC_OscInitTypeDef RCC_OscInitStruct = {0};
  RCC_ClkInitTypeDef RCC_ClkInitStruct = {0};
  RCC_PeriphCLKInitTypeDef PeriphClkInit = {0};

  /** Initializes the RCC Oscillators according to the specified parameters
  * in the RCC_OscInitTypeDef structure.
  */
  RCC_OscInitStruct.OscillatorType = RCC_OSCILLATORTYPE_HSI|RCC_OSCILLATORTYPE_LSI;
  RCC_OscInitStruct.HSIState = RCC_HSI_ON;
  RCC_OscInitStruct.HSICalibrationValue = RCC_HSICALIBRATION_DEFAULT;
  RCC_OscInitStruct.LSIState = RCC_LSI_ON;
  RCC_OscInitStruct.PLL.PLLState = RCC_PLL_ON;
  RCC_OscInitStruct.PLL.PLLSource = RCC_PLLSOURCE_HSI;
  RCC_OscInitStruct.PLL.PLLMUL = RCC_PLL_MUL12;
  RCC_OscInitStruct.PLL.PREDIV = RCC_PREDIV_DIV1;
  if (HAL_RCC_OscConfig(&RCC_OscInitStruct) != HAL_OK)
  {
    Error_Handler();
  }
  /** Initializes the CPU, AHB and APB buses clocks
  */
  RCC_ClkInitStruct.ClockType = RCC_CLOCKTYPE_HCLK|RCC_CLOCKTYPE_SYSCLK
                              |RCC_CLOCKTYPE_PCLK1;
  RCC_ClkInitStruct.SYSCLKSource = RCC_SYSCLKSOURCE_PLLCLK;
  RCC_ClkInitStruct.AHBCLKDivider = RCC_SYSCLK_DIV1;
  RCC_ClkInitStruct.APB1CLKDivider = RCC_HCLK_DIV1;

  if (HAL_RCC_ClockConfig(&RCC_ClkInitStruct, FLASH_LATENCY_1) != HAL_OK)
  {
    Error_Handler();
  }
  PeriphClkInit.PeriphClockSelection = RCC_PERIPHCLK_I2C1;
  PeriphClkInit.I2c1ClockSelection = RCC_I2C1CLKSOURCE_HSI;
  if (HAL_RCCEx_PeriphCLKConfig(&PeriphClkInit) != HAL_OK)
  {
    Error_Handler();
  }
}

void Error_Handler(void)
{
  __disable_irq();
  while (1)
  {
  }
}

/************************ (C) COPYRIGHT STMicroelectronics *****END OF FILE****/
